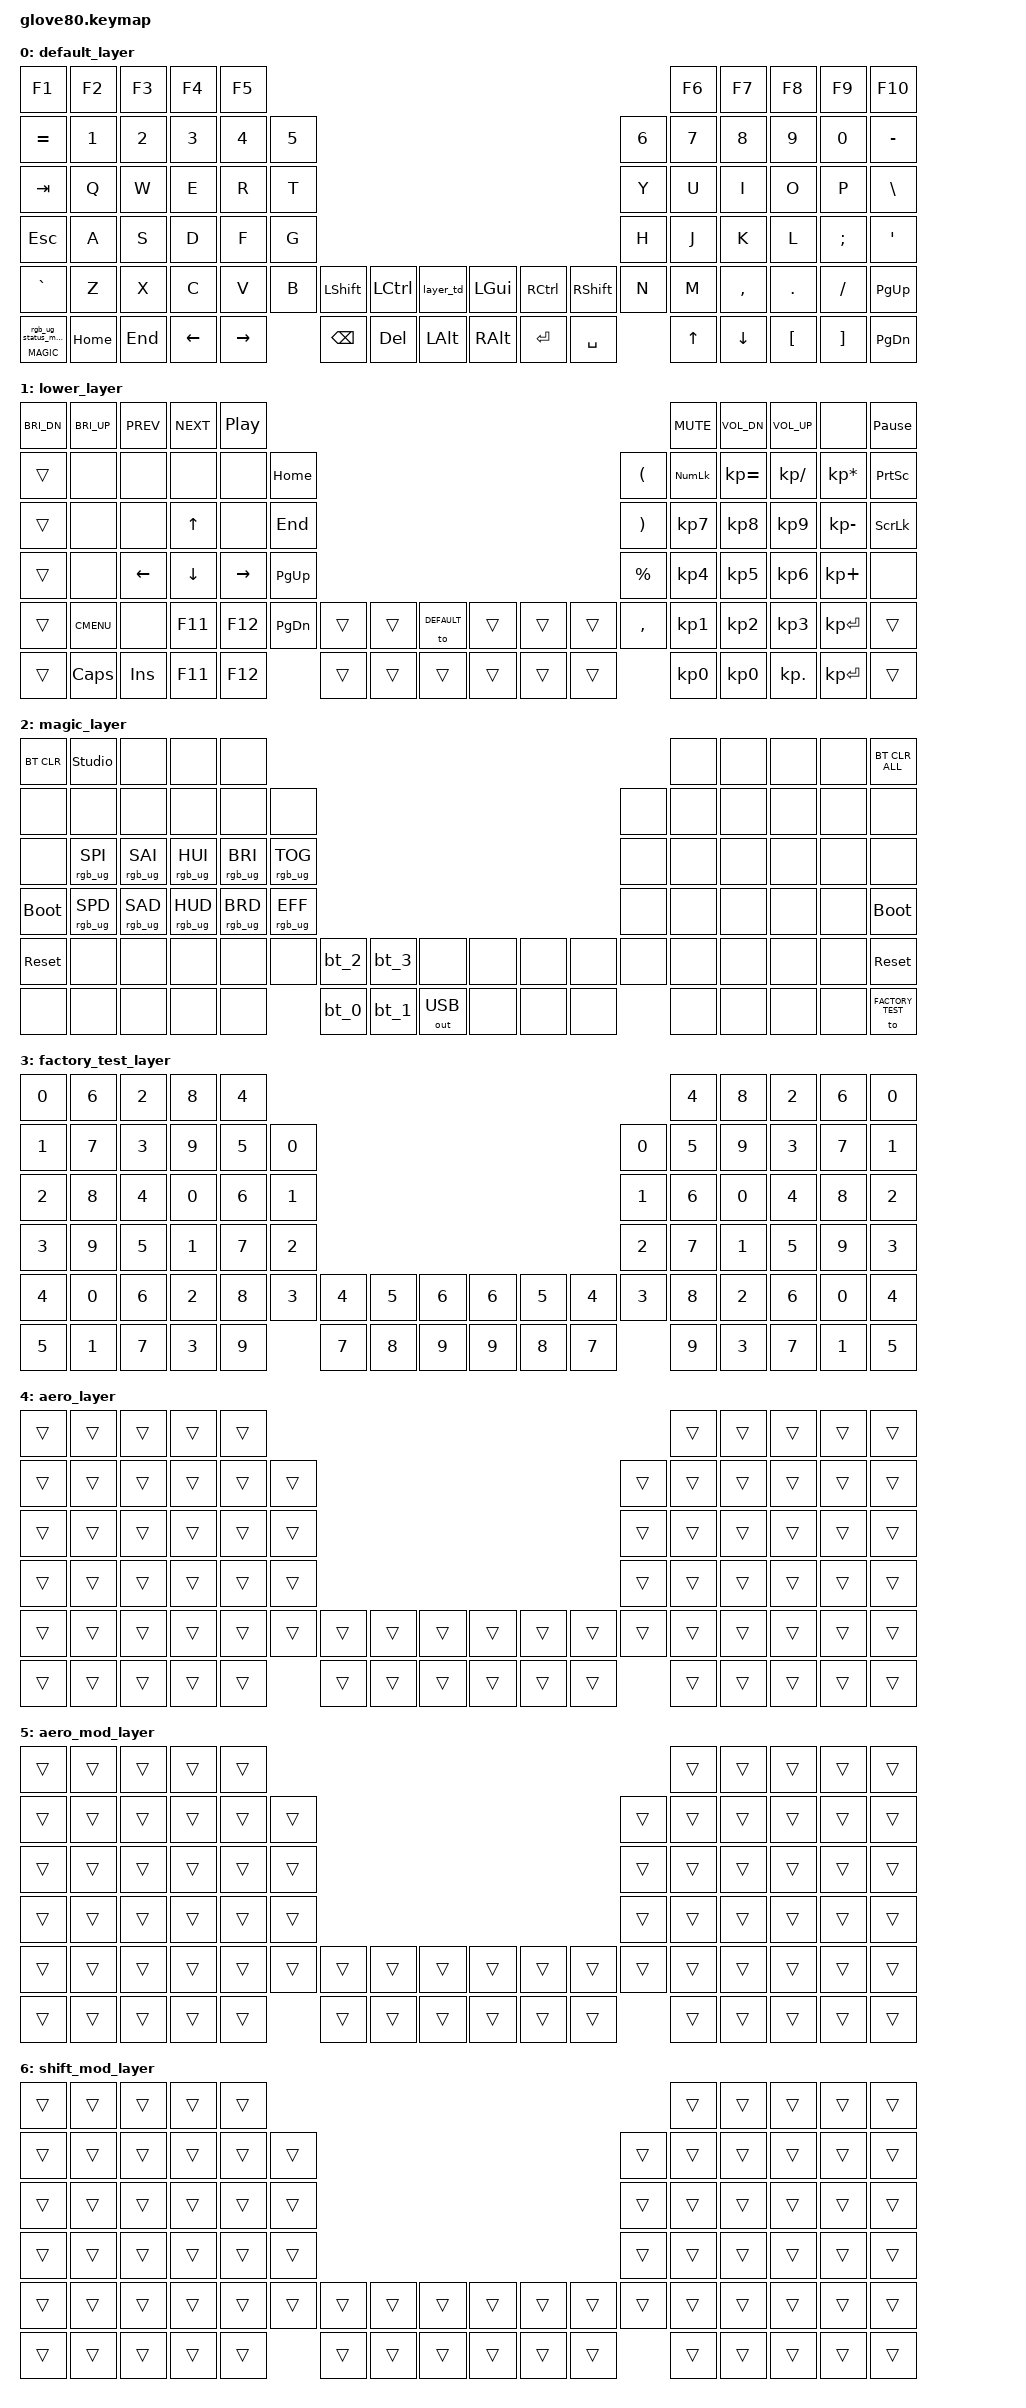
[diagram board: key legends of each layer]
/*
 * Copyright (c) 2020 The ZMK Contributors
 *
 * SPDX-License-Identifier: MIT
 */

#include <behaviors.dtsi>
#include <dt-bindings/zmk/keys.h>
#include <dt-bindings/zmk/bt.h>
#include <dt-bindings/zmk/ext_power.h>
#include <dt-bindings/zmk/outputs.h>
#include <dt-bindings/zmk/rgb.h>

#define HYPER LC(LS(LG(LALT)))

// layers
#define DEFAULT 0
#define LOWER 1
#define MAGIC 2
#define FACTORY_TEST 3
// AeroSpace integration — reserved for ZMK Studio editing.
#define AERO 4
#define AERO_MOD 5
#define SHIFT_MOD 6

/ {
    behaviors {
        // For the "layer" key, it'd nice to be able to use it as either a shift or a toggle.
        // Configure it as a tap dance, so the first tap (or hold) is a &mo and the second tap is a &to
        layer_td: tap_dance_0 {
            compatible = "zmk,behavior-tap-dance";
            label = "LAYER_TAP_DANCE";
            #binding-cells = <0>;
            tapping-term-ms = <200>;
            bindings = <&mo LOWER>, <&to LOWER>;
        };

        magic: magic_hold_tap {
            compatible = "zmk,behavior-hold-tap";
            label = "MAGIC_HOLD_TAP";
            #binding-cells = <2>;
            flavor = "tap-preferred";
            tapping-term-ms = <200>;
            bindings = <&mo>, <&rgb_ug_status_macro>;
        };
    };

    macros {
        rgb_ug_status_macro: rgb_ug_status_macro_0 {
            label = "RGB_UG_STATUS";
            compatible = "zmk,behavior-macro";
            #binding-cells = <0>;
            bindings
                = <&rgb_ug RGB_STATUS>;
        };

        bt_0: bt_profile_macro_0 {
            label = "BT_0";
            compatible = "zmk,behavior-macro";
            #binding-cells = <0>;
            bindings
                = <&out OUT_BLE>,
                  <&bt BT_SEL 0>;
        };

        bt_1: bt_profile_macro_1 {
            label = "BT_1";
            compatible = "zmk,behavior-macro";
            #binding-cells = <0>;
            bindings
                = <&out OUT_BLE>,
                  <&bt BT_SEL 1>;
        };

        bt_2: bt_profile_macro_2 {
            label = "BT_2";
            compatible = "zmk,behavior-macro";
            #binding-cells = <0>;
            bindings
                = <&out OUT_BLE>,
                  <&bt BT_SEL 2>;
        };

        bt_3: bt_profile_macro_3 {
            label = "BT_3";
            compatible = "zmk,behavior-macro";
            #binding-cells = <0>;
            bindings
                = <&out OUT_BLE>,
                  <&bt BT_SEL 3>;
        };
    };

    conditional_layers {
        compatible = "zmk,conditional-layers";
        // Hold the AERO thumb + the SHIFT_MOD thumb together → AERO_MOD activates.
        // Studio cannot edit conditional_layers at runtime, so this rule lives in source.
        aero_move {
            if-layers  = <AERO SHIFT_MOD>;
            then-layer = <AERO_MOD>;
        };
    };

    keymap {
        compatible = "zmk,keymap";

        default_layer {
            // ---------------------------------------------------------------------------------------------------------------------------------
            // |  F1   |  F2 |  F3 |  F4  |  F5  |                                                               |  F6   |  F7   |  F8  |   F9  |  F10 |
            // |  =    |  1  |  2  |  3   |  4   |  5   |                                                 |  6   |   7   |   8   |  9   |   0   |   -  |
            // |  TAB  |  Q  |  W  |  E   |  R   |  T   |                                                 |  Y   |   U   |   I   |  O   |   P   |   \  |
            // |  ESC  |  A  |  S  |  D   |  F   |  G   |                                                 |  H   |   J   |   K   |  L   |   ;   |   '  |
            // |   `   |  Z  |  X  |  C   |  V   |  B   | LSHFT | LCTRL | LOWER | | LGUI  | RCTRL | RSHFT |  N   |   M   |   ,   |  .   |   /   | PGUP |
            // | MAGIC | HOME| END | LEFT | RIGHT|      | BSPC  | DEL   | LALT  | | RALT  | RET   | SPACE |      |  UP   | DOWN  |  [   |   ]   | PGDN |

            bindings = <
            &kp F1         &kp F2   &kp F3      &kp F4      &kp F5                                                                                         &kp F6  &kp F7      &kp F8      &kp F9      &kp F10
            &kp EQUAL      &kp N1   &kp N2      &kp N3      &kp N4      &kp N5                                                                     &kp N6  &kp N7  &kp N8      &kp N9      &kp N0      &kp MINUS
            &kp TAB        &kp Q    &kp W       &kp E       &kp R       &kp T                                                                      &kp Y   &kp U   &kp I       &kp O       &kp P       &kp BSLH
            &kp ESC        &kp A    &kp S       &kp D       &kp F       &kp G                                                                      &kp H   &kp J   &kp K       &kp L       &kp SEMI    &kp SQT
            &kp GRAVE      &kp Z    &kp X       &kp C       &kp V       &kp B   &kp LSHFT   &kp LCTRL   &layer_td  &kp LGUI  &kp RCTRL &kp RSHFT   &kp N   &kp M   &kp COMMA   &kp DOT     &kp FSLH    &kp PG_UP
            &magic MAGIC 0 &kp HOME &kp END     &kp LEFT    &kp RIGHT           &kp BSPC    &kp DEL     &kp LALT   &kp RALT  &kp RET   &kp SPACE           &kp UP  &kp DOWN    &kp LBKT    &kp RBKT    &kp PG_DN
            >;
        };

        lower_layer {
            bindings = <
            &kp C_BRI_DN      &kp C_BRI_UP        &kp C_PREV      &kp C_NEXT      &kp C_PP                                                                                                           &kp C_MUTE   &kp C_VOL_DN &kp C_VOL_UP  &none           &kp PAUSE_BREAK
            &trans            &none               &none           &none           &none           &kp HOME                                                                              &kp LPAR     &kp KP_NUM   &kp KP_EQUAL &kp KP_DIVIDE &kp KP_MULTIPLY &kp PSCRN
            &trans            &none               &none           &kp UP          &none           &kp END                                                                               &kp RPAR     &kp KP_N7    &kp KP_N8    &kp KP_N9     &kp KP_MINUS    &kp SLCK
            &trans            &none               &kp LEFT        &kp DOWN        &kp RIGHT       &kp PG_UP                                                                             &kp PRCNT    &kp KP_N4    &kp KP_N5    &kp KP_N6     &kp KP_PLUS     &none
            &trans            &kp K_CMENU         &none           &kp F11         &kp F12         &kp PG_DN       &trans      &trans      &to DEFAULT &trans      &trans      &trans    &kp COMMA    &kp KP_N1    &kp KP_N2    &kp KP_N3     &kp KP_ENTER    &trans
            &trans            &kp CAPS            &kp INS         &kp F11         &kp F12                         &trans      &trans      &trans      &trans      &trans      &trans                 &kp KP_N0    &kp KP_N0    &kp KP_DOT    &kp KP_ENTER    &trans
            >;
        };

        magic_layer {
            bindings = <
            &bt BT_CLR        &studio_unlock      &none           &none           &none                                                                                                           &none      &none      &none      &none      &bt BT_CLR_ALL
            &none             &none               &none           &none           &none           &none                                                                                &none      &none      &none      &none      &none      &none
            &none             &rgb_ug RGB_SPI     &rgb_ug RGB_SAI &rgb_ug RGB_HUI &rgb_ug RGB_BRI &rgb_ug RGB_TOG                                                                      &none      &none      &none      &none      &none      &none
            &bootloader       &rgb_ug RGB_SPD     &rgb_ug RGB_SAD &rgb_ug RGB_HUD &rgb_ug RGB_BRD &rgb_ug RGB_EFF                                                                      &none      &none      &none      &none      &none      &bootloader
            &sys_reset        &none               &none           &none           &none           &none           &bt_2     &bt_3     &none            &none     &none     &none       &none      &none      &none      &none      &none      &sys_reset
            &none             &none               &none           &none           &none                           &bt_0     &bt_1     &out OUT_USB     &none     &none     &none                  &none      &none      &none      &none      &to FACTORY_TEST
            >;
        };

        factory_test_layer {
            bindings = <
            &kp N0   &kp N6   &kp N2   &kp N8   &kp N4                                                                              &kp N4   &kp N8   &kp N2   &kp N6   &kp N0
            &kp N1   &kp N7   &kp N3   &kp N9   &kp N5   &kp N0                                                            &kp N0   &kp N5   &kp N9   &kp N3   &kp N7   &kp N1
            &kp N2   &kp N8   &kp N4   &kp N0   &kp N6   &kp N1                                                            &kp N1   &kp N6   &kp N0   &kp N4   &kp N8   &kp N2
            &kp N3   &kp N9   &kp N5   &kp N1   &kp N7   &kp N2                                                            &kp N2   &kp N7   &kp N1   &kp N5   &kp N9   &kp N3
            &kp N4   &kp N0   &kp N6   &kp N2   &kp N8   &kp N3   &kp N4   &kp N5   &kp N6      &kp N6   &kp N5   &kp N4   &kp N3   &kp N8   &kp N2   &kp N6   &kp N0   &kp N4
            &kp N5   &kp N1   &kp N7   &kp N3   &kp N9            &kp N7   &kp N8   &kp N9      &kp N9   &kp N8   &kp N7            &kp N9   &kp N3   &kp N7   &kp N1   &kp N5
            >;
        };

        // AeroSpace integration — three reserved layers.
        // All keys default to &trans so they pass through to lower layers until
        // you fill them in via ZMK Studio. The conditional_layers rule above wires
        // AERO + SHIFT_MOD → AERO_MOD automatically.

        aero_layer {
            // Hold the AERO thumb to access workspace switching + focus + commands.
            bindings = <
            &trans   &trans   &trans   &trans   &trans                                                                              &trans   &trans   &trans   &trans   &trans
            &trans   &trans   &trans   &trans   &trans   &trans                                                            &trans   &trans   &trans   &trans   &trans   &trans
            &trans   &trans   &trans   &trans   &trans   &trans                                                            &trans   &trans   &trans   &trans   &trans   &trans
            &trans   &trans   &trans   &trans   &trans   &trans                                                            &trans   &trans   &trans   &trans   &trans   &trans
            &trans   &trans   &trans   &trans   &trans   &trans   &trans   &trans   &trans      &trans   &trans   &trans   &trans   &trans   &trans   &trans   &trans   &trans
            &trans   &trans   &trans   &trans   &trans            &trans   &trans   &trans      &trans   &trans   &trans            &trans   &trans   &trans   &trans   &trans
            >;
        };

        aero_mod_layer {
            // Activated automatically when AERO + SHIFT_MOD are both held.
            // Same key positions as AERO, but emits "move window" variants.
            bindings = <
            &trans   &trans   &trans   &trans   &trans                                                                              &trans   &trans   &trans   &trans   &trans
            &trans   &trans   &trans   &trans   &trans   &trans                                                            &trans   &trans   &trans   &trans   &trans   &trans
            &trans   &trans   &trans   &trans   &trans   &trans                                                            &trans   &trans   &trans   &trans   &trans   &trans
            &trans   &trans   &trans   &trans   &trans   &trans                                                            &trans   &trans   &trans   &trans   &trans   &trans
            &trans   &trans   &trans   &trans   &trans   &trans   &trans   &trans   &trans      &trans   &trans   &trans   &trans   &trans   &trans   &trans   &trans   &trans
            &trans   &trans   &trans   &trans   &trans            &trans   &trans   &trans      &trans   &trans   &trans            &trans   &trans   &trans   &trans   &trans
            >;
        };

        shift_mod_layer {
            // Marker layer — bound to a thumb via &mo SHIFT_MOD. Its only job is to
            // satisfy the conditional rule. Stays empty.
            bindings = <
            &trans   &trans   &trans   &trans   &trans                                                                              &trans   &trans   &trans   &trans   &trans
            &trans   &trans   &trans   &trans   &trans   &trans                                                            &trans   &trans   &trans   &trans   &trans   &trans
            &trans   &trans   &trans   &trans   &trans   &trans                                                            &trans   &trans   &trans   &trans   &trans   &trans
            &trans   &trans   &trans   &trans   &trans   &trans                                                            &trans   &trans   &trans   &trans   &trans   &trans
            &trans   &trans   &trans   &trans   &trans   &trans   &trans   &trans   &trans      &trans   &trans   &trans   &trans   &trans   &trans   &trans   &trans   &trans
            &trans   &trans   &trans   &trans   &trans            &trans   &trans   &trans      &trans   &trans   &trans            &trans   &trans   &trans   &trans   &trans
            >;
        };
    };
};
